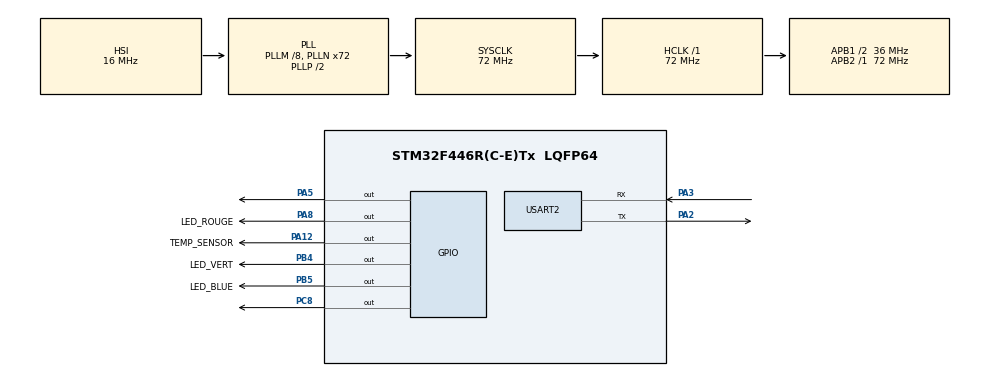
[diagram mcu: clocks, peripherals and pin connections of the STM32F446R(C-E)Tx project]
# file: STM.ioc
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Mcu.Family=STM32F4
Mcu.Name=STM32F446R(C-E)Tx
Mcu.Package=LQFP64
NVIC.PriorityGroup=NVIC_PRIORITYGROUP_4
NVIC.USART2_IRQn=true\:0\:0\:false\:false\:true\:true\:true\:true
PA12.GPIO_Label=TEMP_SENSOR
PA12.Signal=GPIO_Output
PA13.Mode=Trace_Asynchronous_SW
PA13.Signal=SYS_JTMS-SWDIO
PA14.Mode=Trace_Asynchronous_SW
PA14.Signal=SYS_JTCK-SWCLK
PA2.Mode=Asynchronous
PA2.Signal=USART2_TX
PA3.Mode=Asynchronous
PA3.Signal=USART2_RX
PA5.Signal=GPIO_Output
PA8.GPIO_Label=LED_ROUGE
PA8.Signal=GPIO_Output
PB3.Mode=Trace_Asynchronous_SW
PB3.Signal=SYS_JTDO-SWO
PB4.GPIO_Label=LED_VERT
PB4.Signal=GPIO_Output
PB5.GPIO_Label=LED_BLUE
PB5.Signal=GPIO_Output
PC14-OSC32_IN.Mode=LSE-External-Oscillator
PC14-OSC32_IN.Signal=RCC_OSC32_IN
PC15-OSC32_OUT.Mode=LSE-External-Oscillator
PC15-OSC32_OUT.Signal=RCC_OSC32_OUT
PC8.Signal=GPIO_Output
ProjectManager.HeapSize=0x200
ProjectManager.StackSize=0x400
ProjectManager.TargetToolchain=STM32CubeIDE
RCC.AHBFreq_Value=72000000
RCC.APB1CLKDivider=RCC_HCLK_DIV2
RCC.APB1Freq_Value=36000000
RCC.APB1TimFreq_Value=72000000
RCC.APB2Freq_Value=72000000
RCC.APB2TimFreq_Value=72000000
RCC.CortexFreq_Value=72000000
RCC.HCLKFreq_Value=72000000
RCC.PLLM=8
RCC.PLLN=72
RCC.SYSCLKFreq_VALUE=72000000
RCC.SYSCLKSource=RCC_SYSCLKSOURCE_PLLCLK
RCC.USBFreq_Value=72000000
RCC.VCOOutputFreq_Value=144000000
TIM1.Prescaler=71
USART2.VirtualMode=VM_ASYNC
VP_TIM1_VS_ClockSourceINT.Mode=Internal
board=custom

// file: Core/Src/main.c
/* USER CODE BEGIN Header */
/**
  ******************************************************************************
  * @file           : main.c
  * @brief          : Main program body
  ******************************************************************************
  * @attention
  *
  * Copyright (c) 2025 STMicroelectronics.
  * All rights reserved.
  *
  * This software is licensed under terms that can be found in the LICENSE file
  * in the root directory of this software component.
  * If no LICENSE file comes with this software, it is provided AS-IS.
  *
  ******************************************************************************
  */
/* USER CODE END Header */
#include "main.h"

/* USER CODE BEGIN Includes */
#include <stdbool.h>
#include <string.h>
#include <stdio.h>
#include <stdlib.h>
#include "stm32f4xx.h"

/* USER CODE END Includes */

/* USER CODE BEGIN PTD */

TIM_HandleTypeDef htim1;

UART_HandleTypeDef huart2;
/* USER CODE END PTD */

TIM_HandleTypeDef htim1;

UART_HandleTypeDef huart2;

void SystemClock_Config(void);
static void MX_GPIO_Init(void);
static void MX_TIM1_Init(void);
static void MX_USART2_UART_Init(void);
/* USER CODE BEGIN PFP */
#define UART_DATA_TAB_SIZE 100
#define DHT_TAB_SIZE 5

#define DHT11_PORT TEMP_SENSOR_GPIO_Port
#define DHT11_PIN TEMP_SENSOR_Pin

#define LED_RED_PORT LED_ROUGE_GPIO_Port
#define LED_RED_PIN LED_ROUGE_Pin

#define LED_GREEN_PORT LED_VERT_GPIO_Port
#define LED_GREEN_PIN LED_VERT_Pin

#define LED_BLUE_PORT LED_BLUE_GPIO_Port
#define LED_BLUE_PIN LED_BLUE_Pin

#define FLASH_USER_START_ADDR   ((uint32_t)0x0801FC00)
#define FLASH_USER_END_ADDR     ((uint32_t)0x08020000)

uint32_t pMillis, cMillis;

uint8_t DHT11_Start (void);
uint8_t DHT11_Read (void);
void microDelay (uint16_t delay);
/* USER CODE END PFP */

/* USER CODE BEGIN 0 */

uint8_t ReadTargetTemperatureFromFlash(void) {
    return *((uint16_t*)FLASH_USER_START_ADDR) & 0xFF;
}

void SaveTargetTemperature(uint8_t target) {
    HAL_FLASH_Unlock();

    FLASH_EraseInitTypeDef EraseInitStruct;
    uint32_t SectorError = 0;
    EraseInitStruct.TypeErase = FLASH_TYPEERASE_SECTORS;
    EraseInitStruct.Sector = FLASH_SECTOR_4;
    EraseInitStruct.NbSectors = 1;
    EraseInitStruct.VoltageRange = FLASH_VOLTAGE_RANGE_3;

    if (HAL_FLASHEx_Erase(&EraseInitStruct, &SectorError) != HAL_OK) {
        // Gérer l'erreur d'effacement
    }

    if (HAL_FLASH_Program(FLASH_TYPEPROGRAM_HALFWORD, FLASH_USER_START_ADDR, (uint16_t)target) != HAL_OK) {
        // Gérer l'erreur de programmation
    }

    HAL_FLASH_Lock();
}

void set_target_temperature(uint8_t value) {
	SaveTargetTemperature(value);
}

uint8_t get_target_temperature() {
	return ReadTargetTemperatureFromFlash();
}

bool dht_read_data(uint8_t *dht_value){
    uint8_t RHI = 0, RHD = 0, TCI = 0, TCD = 0, SUM = 0;
    if(DHT11_Start()){
        RHI = DHT11_Read();
        RHD = DHT11_Read();
        TCI = DHT11_Read();
        TCD = DHT11_Read();
        SUM = DHT11_Read();
        if (RHI + RHD + TCI + TCD == SUM){
            dht_value[0] = RHI;
            dht_value[1] = RHD;
            dht_value[2] = TCI;
            dht_value[3] = TCD;
            return true;
        }
    }
    return false;
}

void microDelay (uint16_t delay)
{
  __HAL_TIM_SET_COUNTER(&htim1, 0);
  while (__HAL_TIM_GET_COUNTER(&htim1) < delay);
}
uint8_t DHT11_Start (void)
{
  uint8_t Response = 0;
  GPIO_InitTypeDef GPIO_InitStructPrivate = {0};
  GPIO_InitStructPrivate.Pin = DHT11_PIN;
  GPIO_InitStructPrivate.Mode = GPIO_MODE_OUTPUT_PP;
  GPIO_InitStructPrivate.Speed = GPIO_SPEED_FREQ_LOW;
  GPIO_InitStructPrivate.Pull = GPIO_NOPULL;
  HAL_GPIO_Init(DHT11_PORT, &GPIO_InitStructPrivate); // set the pin as output
  HAL_GPIO_WritePin (DHT11_PORT, DHT11_PIN, 0);   // pull the pin low
  HAL_Delay(20);   // wait for 20ms
  HAL_GPIO_WritePin (DHT11_PORT, DHT11_PIN, 1);   // pull the pin high
  microDelay (30);   // wait for 30us
  GPIO_InitStructPrivate.Mode = GPIO_MODE_INPUT;
  GPIO_InitStructPrivate.Pull = GPIO_PULLUP;
  HAL_GPIO_Init(DHT11_PORT, &GPIO_InitStructPrivate); // set the pin as input
  microDelay (40);
  if (!(HAL_GPIO_ReadPin (DHT11_PORT, DHT11_PIN)))
  {
    microDelay (80);
    if ((HAL_GPIO_ReadPin (DHT11_PORT, DHT11_PIN))) Response = 1;
  }
  pMillis = HAL_GetTick();
  cMillis = HAL_GetTick();
  while ((HAL_GPIO_ReadPin (DHT11_PORT, DHT11_PIN)) && pMillis + 2 > cMillis)
  {
    cMillis = HAL_GetTick();
  }
  return Response;
}

uint8_t DHT11_Read (void)
{
  uint8_t a,b;
  for (a=0;a<8;a++)
  {
    pMillis = HAL_GetTick();
    cMillis = HAL_GetTick();
    while (!(HAL_GPIO_ReadPin (DHT11_PORT, DHT11_PIN)) && pMillis + 2 > cMillis)
    {  // wait for the pin to go high
      cMillis = HAL_GetTick();
    }
    microDelay (40);   // wait for 40 us
    if (!(HAL_GPIO_ReadPin (DHT11_PORT, DHT11_PIN)))   // if the pin is low
      b&= ~(1<<(7-a));
    else
      b|= (1<<(7-a));
    pMillis = HAL_GetTick();
    cMillis = HAL_GetTick();
    while ((HAL_GPIO_ReadPin (DHT11_PORT, DHT11_PIN)) && pMillis + 2 > cMillis)
    {  // wait for the pin to go low
      cMillis = HAL_GetTick();
    }
  }
  return b;
}

void uart_send_data(uint8_t data[], uint8_t tab_length){
    HAL_UART_Transmit(&huart2, data, tab_length, 1000);
}

void uart_receive(uint8_t *pData, uint16_t length) {
    HAL_UART_Receive(&huart2, pData, length, 1000);
}

uint8_t* uart_receive_data() {
    uint8_t byte;
    uint16_t index = 0;
    uint16_t buffer_size = 10;
    uint8_t *pData = (uint8_t*)malloc(buffer_size * sizeof(uint8_t));
    if (pData == NULL) {
        return NULL;
    }
    while (1) {
        uart_receive(&byte, 1);
        if (byte == '\n') {
            break;
        }
        pData[index++] = byte;
        if (index >= buffer_size) {
            buffer_size *= 2;
            uint8_t *temp = (uint8_t*)realloc(pData, buffer_size * sizeof(uint8_t));
            if (temp == NULL) {
                free(pData);
                return NULL;
            }
            pData = temp;
        }
    }
    pData[index] = '\0';
    return pData;
}

void parse_json(char *json_data) {
    char *temp_str = strstr(json_data, "\"targetTemperature\":");
    if (temp_str) {
        int value;
        sscanf(temp_str, "\"targetTemperature\":%d", &value);
        set_target_temperature((uint8_t)value);
    }
}

void HAL_UART_RxCpltCallback(UART_HandleTypeDef *huart) {
    if (huart->Instance == USART2) {
        uint8_t *received_data = uart_receive_data();
        if (received_data) {
            parse_json((char *)received_data);
            free(received_data);
        }
        HAL_UART_Receive_IT(&huart2, (uint8_t*)received_data, 1);
    }
}
/* USER CODE END 0 */

int main(void)
{

  /* MCU Configuration--------------------------------------------------------*/

  /* Reset of all peripherals, Initializes the Flash interface and the Systick. */
  HAL_Init();

  /* Configure the system clock */
  SystemClock_Config();

  /* Initialize all configured peripherals */
  MX_GPIO_Init();
  MX_TIM1_Init();
  MX_USART2_UART_Init();
  /* USER CODE BEGIN 2 */

  LED_Off(LED_RED_PORT, LED_RED_PIN);
  LED_Off(LED_GREEN_PORT, LED_GREEN_PIN);
  LED_On(LED_BLUE_PORT, LED_BLUE_PIN);

  HAL_TIM_Base_Start(&htim1);
  uint8_t uart_data[UART_DATA_TAB_SIZE] = {0};
  uint8_t dht_value[DHT_TAB_SIZE] = {0};
//  uart_send_data((uint8_t *) "INIT STM32\r\n\0", 15);

  HAL_UART_Receive_IT(&huart2, uart_data, 1);
  uint8_t target_temperature = get_target_temperature();
  /* USER CODE END 2 */

  /* Infinite loop */
  while (1)
  {

  }
}

void SystemClock_Config(void)
{
  RCC_OscInitTypeDef RCC_OscInitStruct = {0};
  RCC_ClkInitTypeDef RCC_ClkInitStruct = {0};

  /** Configure the main internal regulator output voltage
  */
  __HAL_RCC_PWR_CLK_ENABLE();
  __HAL_PWR_VOLTAGESCALING_CONFIG(PWR_REGULATOR_VOLTAGE_SCALE3);

  /** Initializes the RCC Oscillators according to the specified parameters
  * in the RCC_OscInitTypeDef structure.
  */
  RCC_OscInitStruct.OscillatorType = RCC_OSCILLATORTYPE_HSI;
  RCC_OscInitStruct.HSIState = RCC_HSI_ON;
  RCC_OscInitStruct.HSICalibrationValue = RCC_HSICALIBRATION_DEFAULT;
  RCC_OscInitStruct.PLL.PLLState = RCC_PLL_ON;
  RCC_OscInitStruct.PLL.PLLSource = RCC_PLLSOURCE_HSI;
  RCC_OscInitStruct.PLL.PLLM = 8;
  RCC_OscInitStruct.PLL.PLLN = 72;
  RCC_OscInitStruct.PLL.PLLP = RCC_PLLP_DIV2;
  RCC_OscInitStruct.PLL.PLLQ = 2;
  RCC_OscInitStruct.PLL.PLLR = 2;
  if (HAL_RCC_OscConfig(&RCC_OscInitStruct) != HAL_OK)
  {
    Error_Handler();
  }

  /** Initializes the CPU, AHB and APB buses clocks
  */
  RCC_ClkInitStruct.ClockType = RCC_CLOCKTYPE_HCLK|RCC_CLOCKTYPE_SYSCLK
                              |RCC_CLOCKTYPE_PCLK1|RCC_CLOCKTYPE_PCLK2;
  RCC_ClkInitStruct.SYSCLKSource = RCC_SYSCLKSOURCE_PLLCLK;
  RCC_ClkInitStruct.AHBCLKDivider = RCC_SYSCLK_DIV1;
  RCC_ClkInitStruct.APB1CLKDivider = RCC_HCLK_DIV2;
  RCC_ClkInitStruct.APB2CLKDivider = RCC_HCLK_DIV1;

  if (HAL_RCC_ClockConfig(&RCC_ClkInitStruct, FLASH_LATENCY_2) != HAL_OK)
  {
    Error_Handler();
  }
}

static void MX_TIM1_Init(void)
{

  TIM_ClockConfigTypeDef sClockSourceConfig = {0};
  TIM_MasterConfigTypeDef sMasterConfig = {0};

  htim1.Instance = TIM1;
  htim1.Init.Prescaler = 71;
  htim1.Init.CounterMode = TIM_COUNTERMODE_UP;
  htim1.Init.Period = 65535;
  htim1.Init.ClockDivision = TIM_CLOCKDIVISION_DIV1;
  htim1.Init.RepetitionCounter = 0;
  htim1.Init.AutoReloadPreload = TIM_AUTORELOAD_PRELOAD_DISABLE;
  if (HAL_TIM_Base_Init(&htim1) != HAL_OK)
  {
    Error_Handler();
  }
  sClockSourceConfig.ClockSource = TIM_CLOCKSOURCE_INTERNAL;
  if (HAL_TIM_ConfigClockSource(&htim1, &sClockSourceConfig) != HAL_OK)
  {
    Error_Handler();
  }
  sMasterConfig.MasterOutputTrigger = TIM_TRGO_RESET;
  sMasterConfig.MasterSlaveMode = TIM_MASTERSLAVEMODE_DISABLE;
  if (HAL_TIMEx_MasterConfigSynchronization(&htim1, &sMasterConfig) != HAL_OK)
  {
    Error_Handler();
  }

}

static void MX_USART2_UART_Init(void)
{

  huart2.Instance = USART2;
  huart2.Init.BaudRate = 115200;
  huart2.Init.WordLength = UART_WORDLENGTH_8B;
  huart2.Init.StopBits = UART_STOPBITS_1;
  huart2.Init.Parity = UART_PARITY_NONE;
  huart2.Init.Mode = UART_MODE_TX_RX;
  huart2.Init.HwFlowCtl = UART_HWCONTROL_NONE;
  huart2.Init.OverSampling = UART_OVERSAMPLING_16;
  if (HAL_UART_Init(&huart2) != HAL_OK)
  {
    Error_Handler();
  }

}

static void MX_GPIO_Init(void)
{
  GPIO_InitTypeDef GPIO_InitStruct = {0};

  /* GPIO Ports Clock Enable */
  __HAL_RCC_GPIOC_CLK_ENABLE();
  __HAL_RCC_GPIOA_CLK_ENABLE();
  __HAL_RCC_GPIOB_CLK_ENABLE();

  /*Configure GPIO pin Output Level */
  HAL_GPIO_WritePin(GPIOA, GPIO_PIN_5|LED_ROUGE_Pin|TEMP_SENSOR_Pin, GPIO_PIN_RESET);

  /*Configure GPIO pin Output Level */
  HAL_GPIO_WritePin(GPIOC, GPIO_PIN_8, GPIO_PIN_RESET);

  /*Configure GPIO pin Output Level */
  HAL_GPIO_WritePin(GPIOB, LED_VERT_Pin|LED_BLUE_Pin, GPIO_PIN_RESET);

  /*Configure GPIO pins : PA5 LED_ROUGE_Pin TEMP_SENSOR_Pin */
  GPIO_InitStruct.Pin = GPIO_PIN_5|LED_ROUGE_Pin|TEMP_SENSOR_Pin;
  GPIO_InitStruct.Mode = GPIO_MODE_OUTPUT_PP;
  GPIO_InitStruct.Pull = GPIO_NOPULL;
  GPIO_InitStruct.Speed = GPIO_SPEED_FREQ_LOW;
  HAL_GPIO_Init(GPIOA, &GPIO_InitStruct);

  /*Configure GPIO pin : PC8 */
  GPIO_InitStruct.Pin = GPIO_PIN_8;
  GPIO_InitStruct.Mode = GPIO_MODE_OUTPUT_PP;
  GPIO_InitStruct.Pull = GPIO_NOPULL;
  GPIO_InitStruct.Speed = GPIO_SPEED_FREQ_LOW;
  HAL_GPIO_Init(GPIOC, &GPIO_InitStruct);

  /*Configure GPIO pins : LED_VERT_Pin LED_BLUE_Pin */
  GPIO_InitStruct.Pin = LED_VERT_Pin|LED_BLUE_Pin;
  GPIO_InitStruct.Mode = GPIO_MODE_OUTPUT_PP;
  GPIO_InitStruct.Pull = GPIO_NOPULL;
  GPIO_InitStruct.Speed = GPIO_SPEED_FREQ_LOW;
  HAL_GPIO_Init(GPIOB, &GPIO_InitStruct);

}

void Error_Handler(void)
{
  /* USER CODE BEGIN Error_Handler_Debug */
  /* User can add his own implementation to report the HAL error return state */
  __disable_irq();
  while (1)   {
  }
  /* USER CODE END Error_Handler_Debug */
}
